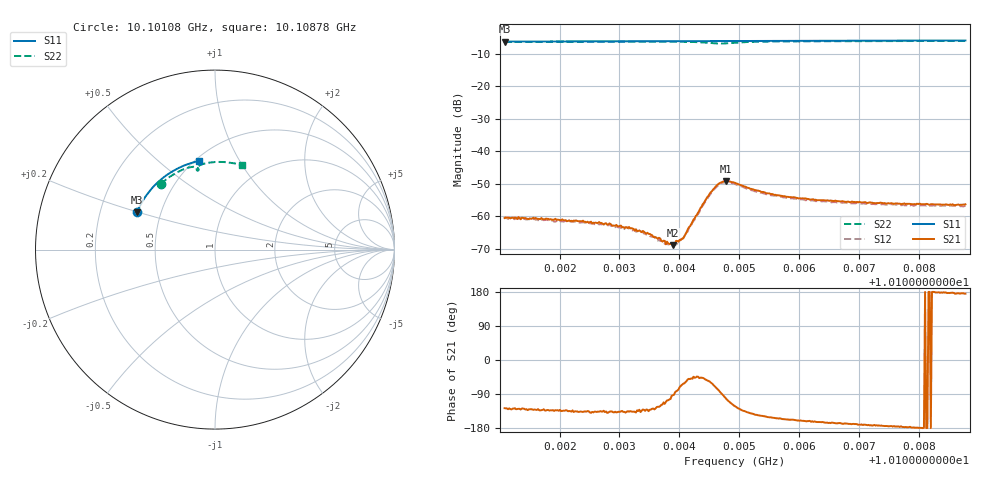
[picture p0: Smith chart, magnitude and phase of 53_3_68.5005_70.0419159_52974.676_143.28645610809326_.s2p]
#  HZ  S  RI  R  50.00
! Rohde & Schwarz Vector Network Analyzer
! Rohde-Schwarz,ZNB20-2Port,1311601062101988,3.16
! Created: UTC 3/20/2024, 5:06:05 PM
! freq[Hz]  re:S11  im:S11  re:S21  im:S21  re:S12  im:S12  re:S22  im:S22
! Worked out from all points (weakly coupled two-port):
!   401 points, 10.10108 GHz to 10.10878 GHz, reference 50 ohm
!   highest |S21| = -49.12 dB at 10.10478 GHz (marker M1); lowest = -68.7 dB at 10.10389 GHz (marker M2)
!   lowest |S11| = -6.3 dB at 10.10108 GHz (marker M3), VSWR 2.86, Z = 18.3 + j9.88 ohm
!   |S11| at or under -10 dB: nowhere
!   |S22| runs from -6.9 to -6.1 dB; largest |S21 - S12| = 0.00037
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1.010108e10  -0.4349 0.2076  -0.000574 -0.000755  -0.000505 -0.000795  -0.3023 0.3657
1.010158e10  -0.4223 0.2355  -0.000604 -0.000703  -0.000546 -0.000733  -0.2776 0.3867
1.010237e10  -0.3991 0.2775  -0.00061 -0.000579  -0.000534 -0.00061  -0.2355 0.4163
1.0102813e10  -0.3842 0.2999  -0.000564 -0.000499  -0.000491 -0.000541  -0.2102 0.4307
1.010314e10  -0.3725 0.3159  -0.000471 -0.000471  -0.000452 -0.000482  -0.1907 0.4406
1.010339e10  -0.363 0.3277  -0.000391 -0.000455  -0.000355 -0.000452  -0.1749 0.4474
1.010366e10  -0.3524 0.3403  -0.000261 -0.000393  -0.000223 -0.000392  -0.1572 0.454
1.0103814e10  -0.3461 0.3472  -0.000108 -0.000372  -5.15e-05 -0.000368  -0.1464 0.4571
1.0103891e10  -0.343 0.3507  -1.83e-05 -0.000366  1.59e-05 -0.00035  -0.1409 0.4585
1.0103968e10  -0.3398 0.3542  6.79e-05 -0.000415  9.36e-05 -0.000373  -0.1352 0.4596
1.0104026e10  -0.3373 0.3566  0.000164 -0.000407  0.000198 -0.000396  -0.1308 0.4605
1.0104083e10  -0.3349 0.3592  0.000236 -0.000438  0.000286 -0.000405  -0.1262 0.4611
1.010443e10  -0.3199 0.3738  0.0011 -0.00135  0.00117 -0.00119  -0.0973 0.4556
1.0104565e10  -0.3139 0.3793  0.0011 -0.00235  0.00128 -0.00217  -0.0912 0.4461
1.0104661e10  -0.3095 0.3829  0.000532 -0.00314  0.00076 -0.00295  -0.0935 0.4402
1.0104776e10  -0.3042 0.3876  -0.000657 -0.00344  -0.000345 -0.00333  -0.1004 0.4411
1.010493e10  -0.2971 0.3936  -0.00174 -0.00279  -0.00145 -0.00281  -0.1014 0.4527
1.0105219e10  -0.2836 0.4046  -0.00207 -0.00162  -0.00183 -0.00172  -0.0845 0.4698
1.0105527e10  -0.2685 0.4157  -0.00194 -0.00106  -0.00176 -0.00118  -0.0626 0.4784
1.010622e10  -0.2333 0.4384  -0.00173 -0.000577  -0.00163 -0.000667  -0.0153 0.4868
1.010751e10  -0.1628 0.472  -0.00158 -0.000148  -0.00147 -0.000276  0.069 0.486
1.0108781e10  -0.0891 0.4935  -0.00153 0.000133  -0.00146 -2.91e-05  0.1489 0.4708
